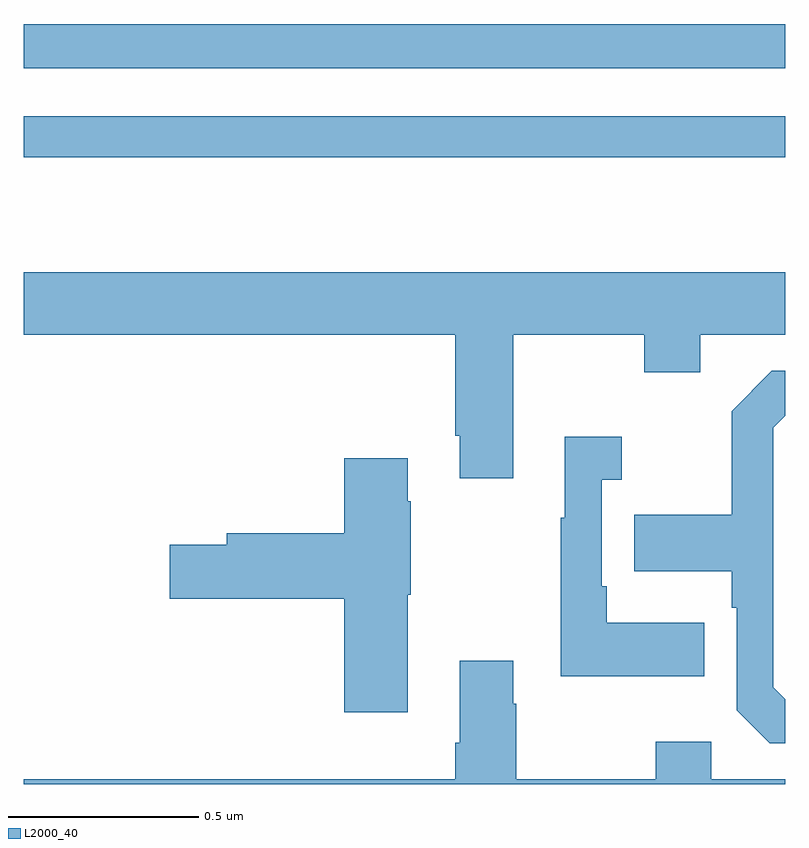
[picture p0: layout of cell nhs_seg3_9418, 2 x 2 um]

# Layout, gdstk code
import gdstk
lib = gdstk.Library(unit=1e-6, precision=1e-09)
def R(c, l, rs):  # rectangles x0, y0, x1, y1
    for r in rs: c.add(gdstk.rectangle(r[:2], r[2:], *l))
def P(c, l, *ps):  # polygons
    for p in ps: c.add(gdstk.Polygon(p, *l))
L2000_40 = (2000, 40)

nhs_seg3_9418 = lib.new_cell('nhs_seg3_9418')
R(nhs_seg3_9418, L2000_40, [(228,704.046,230,704.154), (228,704.28,230,704.396)])
P(nhs_seg3_9418, L2000_40, [(229.285,703.58),(229.63,703.58),(229.63,703.481),(229.777,703.481),(229.777,703.58),(230,703.58),(230,703.744),(228,703.744),(228,703.58),(229.133,703.58),(229.133,703.315),(229.145,703.315),(229.145,703.203),(229.285,703.203)],
  [(230,702.622),(229.968,702.654),(229.968,703.335),(230,703.367),(230,703.485),(229.965,703.485),(229.86,703.379),(229.86,703.107),(229.603,703.107),(229.603,702.959),(229.86,702.959),(229.86,702.863),(229.872,702.863),(229.872,702.594),(229.959,702.507),(230,702.507)],
  [(229.787,702.823),(229.531,702.823),(229.531,702.919),(229.518,702.919),(229.518,703.199),(229.57,703.199),(229.57,703.312),(229.421,703.312),(229.421,703.099),(229.41,703.099),(229.41,702.683),(229.787,702.683)],
  [(229.009,702.897),(229.017,702.897),(229.017,703.142),(229.009,703.142),(229.009,703.255),(228.842,703.255),(228.842,703.058),(228.533,703.058),(228.533,703.028),(228.384,703.028),(228.384,702.886),(228.842,702.886),(228.842,702.588),(229.009,702.588)],
  [(230,702.412),(229.806,702.412),(229.806,702.511),(229.66,702.511),(229.66,702.412),(229.293,702.412),(229.293,702.611),(229.285,702.611),(229.285,702.724),(229.145,702.724),(229.145,702.508),(229.133,702.508),(229.133,702.412),(228,702.412),(228,702.4),(230,702.4)])

lib.write_gds('nhs_seg3_9418.gds')
